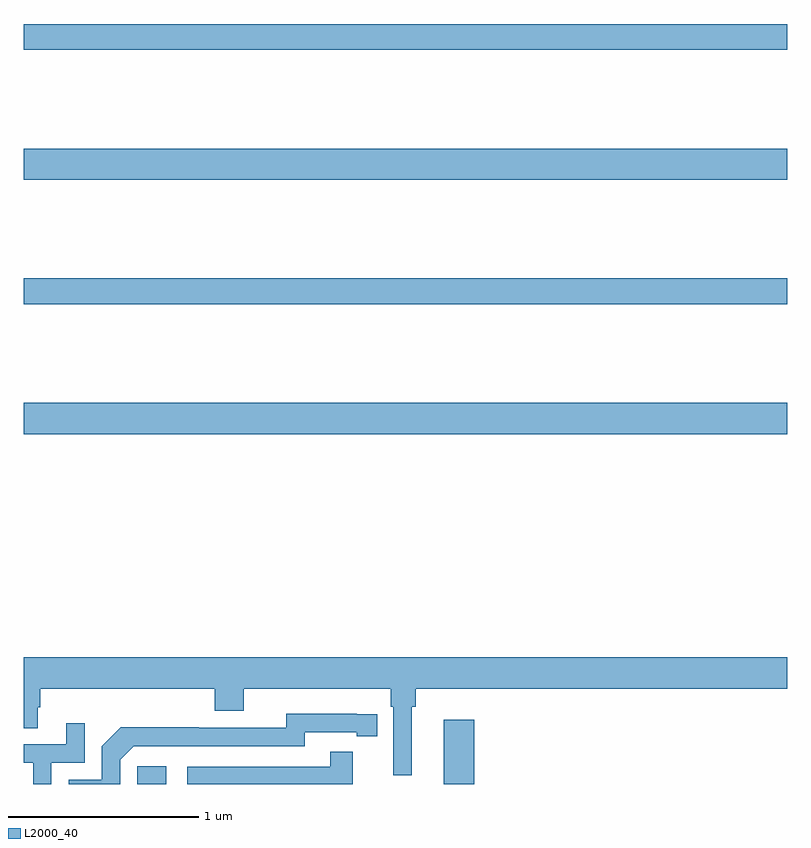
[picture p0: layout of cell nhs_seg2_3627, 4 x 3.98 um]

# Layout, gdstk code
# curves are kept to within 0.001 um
import gdstk
lib = gdstk.Library(unit=1e-6, precision=1e-09)
def R(c, l, rs):  # rectangles x0, y0, x1, y1
    for r in rs: c.add(gdstk.rectangle(r[:2], r[2:], *l))
def P(c, l, *ps):  # polygons
    for p in ps: c.add(gdstk.Polygon(p, *l))
L2000_40 = (2000, 40)

nhs_seg2_3627 = lib.new_cell('nhs_seg2_3627')
R(nhs_seg2_3627, L2000_40, [(301.596,649.8,301.747,649.894), (303.2,649.8,303.359,650.137), (301,651.632,305,651.796), (301,652.312,305,652.448), (301,652.964,305,653.128), (301,653.644,305,653.78)])
P(nhs_seg2_3627, L2000_40, [(303.034,650.204),(303.053,650.204),(303.053,650.3),(305,650.3),(305,650.464),(301,650.464),(301,650.092),(301.075,650.092),(301.075,650.202),(301.088,650.202),(301.088,650.3),(302,650.3),(302,650.183),(302.152,650.183),(302.152,650.3),(302.924,650.3),(302.924,650.204),(302.937,650.204),(302.937,649.845),(303.034,649.845)],
  [(301.506,649.926),(301.578,649.998),(302.472,649.998),(302.472,650.07),(302.744,650.07),(302.744,650.05),(302.852,650.05),(302.852,650.166),(302.376,650.167),(302.376,650.094),(301.916,650.094),(301.916,650.096),(301.508,650.096),(301.41,649.998),(301.41,649.821),(301.236,649.821),(301.236,649.8),(301.506,649.8)],
  [(301.146,649.911),(301.32,649.911),(301.32,650.119),(301.223,650.119),(301.223,650.007),(301,650.007),(301,649.911),(301.05,649.911),(301.05,649.8),(301.146,649.8)],
  [(302.723,649.969),(302.605,649.969),(302.605,649.89),(301.857,649.89),(301.857,649.8),(302.723,649.8)])

lib.write_gds('nhs_seg2_3627.gds')
